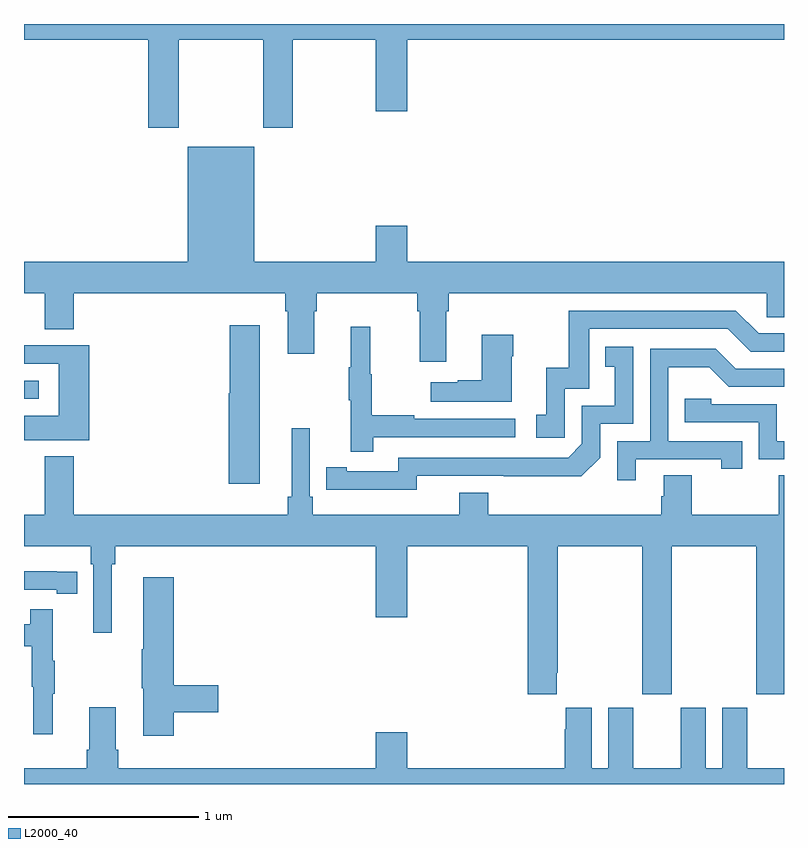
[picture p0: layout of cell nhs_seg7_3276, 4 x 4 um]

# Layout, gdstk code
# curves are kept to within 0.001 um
import gdstk
lib = gdstk.Library(unit=1e-6, precision=1e-09)
def R(c, l, rs):  # rectangles x0, y0, x1, y1
    for r in rs: c.add(gdstk.rectangle(r[:2], r[2:], *l))
def P(c, l, *ps):  # polygons
    for p in ps: c.add(gdstk.Polygon(p, *l))
L2000_40 = (2000, 40)

nhs_seg7_3276 = lib.new_cell('nhs_seg7_3276')
R(nhs_seg7_3276, L2000_40, [(319,1032.027,319.078,1032.123)])
P(nhs_seg7_3276, L2000_40, [(319.815,1033.916),(320.26,1033.916),(320.26,1033.455),(320.415,1033.455),(320.415,1033.916),(320.852,1033.916),(320.852,1033.542),(321.016,1033.542),(321.016,1033.916),(323,1033.916),(323,1034),(319,1034),(319,1033.916),(319.655,1033.916),(319.655,1033.455),(319.815,1033.455)],
  [(321.223,1032.488),(321.236,1032.488),(321.236,1032.584),(322.908,1032.584),(322.908,1032.457),(323,1032.457),(323,1032.748),(321.016,1032.748),(321.016,1032.937),(320.852,1032.937),(320.852,1032.748),(320.212,1032.748),(320.212,1033.354),(319.862,1033.354),(319.862,1032.748),(319,1032.748),(319,1032.584),(319.109,1032.584),(319.109,1032.394),(319.262,1032.394),(319.262,1032.584),(320.375,1032.584),(320.375,1032.488),(320.387,1032.488),(320.387,1032.264),(320.527,1032.264),(320.527,1032.488),(320.54,1032.488),(320.54,1032.584),(321.071,1032.584),(321.071,1032.488),(321.083,1032.488),(321.083,1032.222),(321.223,1032.222)],
  [(321.846,1032.081),(321.975,1032.081),(321.975,1032.396),(322.704,1032.396),(322.824,1032.276),(323,1032.276),(323,1032.372),(322.866,1032.372),(322.746,1032.492),(321.867,1032.492),(321.867,1032.19),(321.749,1032.19),(321.749,1031.943),(321.696,1031.943),(321.696,1031.823),(321.846,1031.823)],
  [(320.242,1032.415),(320.084,1032.415),(320.084,1032.057),(320.078,1032.057),(320.078,1031.58),(320.242,1031.58)],
  [(320.837,1031.826),(321.586,1031.826),(321.586,1031.922),(321.053,1031.922),(321.053,1031.942),(320.83,1031.942),(320.83,1032.156),(320.822,1032.156),(320.822,1032.406),(320.72,1032.406),(320.72,1032.193),(320.709,1032.193),(320.709,1032.019),(320.72,1032.019),(320.72,1031.748),(320.837,1031.748)],
  [(321.568,1032.251),(321.576,1032.251),(321.576,1032.364),(321.41,1032.364),(321.41,1032.125),(321.284,1032.125),(321.284,1032.115),(321.141,1032.115),(321.141,1032.011),(321.568,1032.011)],
  [(319.343,1032.309),(319,1032.309),(319,1032.213),(319.184,1032.213),(319.184,1031.938),(319,1031.938),(319,1031.81),(319.343,1031.81)],
  [(321.066,1031.622),(321.934,1031.621),(322.032,1031.718),(322.032,1031.895),(322.206,1031.895),(322.206,1032.301),(322.06,1032.301),(322.06,1032.195),(322.109,1032.195),(322.109,1031.991),(321.936,1031.991),(321.936,1031.79),(321.864,1031.718),(320.97,1031.718),(320.97,1031.646),(320.698,1031.646),(320.698,1031.666),(320.59,1031.666),(320.59,1031.55),(321.066,1031.549)],
  [(322.219,1031.709),(322.67,1031.709),(322.67,1031.658),(322.781,1031.658),(322.781,1031.805),(322.392,1031.805),(322.392,1032.194),(322.606,1032.194),(322.71,1032.09),(323,1032.09),(323,1032.186),(322.747,1032.186),(322.642,1032.291),(322.296,1032.291),(322.296,1031.805),(322.122,1031.805),(322.122,1031.598),(322.219,1031.598)],
  [(323,1031.805),(322.962,1031.805),(322.962,1032),(322.617,1032),(322.617,1032.027),(322.477,1032.027),(322.477,1031.904),(322.866,1031.904),(322.866,1031.709),(323,1031.709)],
  [(321.29,1031.533),(321.29,1031.416),(320.519,1031.416),(320.519,1031.512),(320.505,1031.512),(320.505,1031.872),(320.408,1031.872),(320.408,1031.512),(320.389,1031.512),(320.389,1031.416),(319.262,1031.416),(319.262,1031.725),(319.109,1031.725),(319.109,1031.416),(319,1031.416),(319,1031.252),(319.352,1031.252),(319.352,1031.156),(319.365,1031.156),(319.365,1030.797),(319.462,1030.797),(319.462,1031.156),(319.481,1031.156),(319.481,1031.252),(320.852,1031.252),(320.852,1030.878),(321.016,1030.878),(321.016,1031.252),(321.65,1031.252),(321.65,1030.473),(321.805,1030.473),(321.805,1030.585),(321.81,1030.585),(321.81,1031.252),(322.255,1031.252),(322.255,1030.473),(322.41,1030.473),(322.41,1031.252),(322.855,1031.252),(322.855,1030.473),(323,1030.473),(323,1031.624),(322.972,1031.624),(322.972,1031.416),(322.515,1031.416),(322.515,1031.624),(322.367,1031.624),(322.367,1031.514),(322.355,1031.514),(322.355,1031.416),(321.443,1031.416),(321.443,1031.533)],
  [(319.28,1031.118),(319.172,1031.118),(319.172,1031.119),(319,1031.119),(319,1031.022),(319.172,1031.022),(319.172,1031.002),(319.28,1031.002)],
  [(319.787,1030.378),(320.023,1030.378),(320.023,1030.52),(319.787,1030.52),(319.787,1031.089),(319.628,1031.089),(319.628,1030.709),(319.621,1030.709),(319.621,1030.503),(319.628,1030.503),(319.628,1030.254),(319.787,1030.254)],
  [(319.151,1030.475),(319.162,1030.475),(319.162,1030.649),(319.151,1030.649),(319.151,1030.921),(319.033,1030.921),(319.033,1030.842),(319,1030.842),(319,1030.726),(319.041,1030.726),(319.041,1030.512),(319.048,1030.512),(319.048,1030.263),(319.151,1030.263)],
  [(323,1030.084),(322.807,1030.084),(322.807,1030.402),(322.676,1030.402),(322.676,1030.084),(322.588,1030.084),(322.588,1030.402),(322.457,1030.402),(322.457,1030.084),(322.207,1030.084),(322.207,1030.402),(322.076,1030.402),(322.076,1030.084),(321.988,1030.084),(321.988,1030.402),(321.851,1030.402),(321.851,1030.289),(321.845,1030.289),(321.845,1030.084),(321.016,1030.084),(321.016,1030.273),(320.852,1030.273),(320.852,1030.084),(319.496,1030.084),(319.496,1030.18),(319.483,1030.18),(319.483,1030.405),(319.343,1030.405),(319.343,1030.18),(319.331,1030.18),(319.331,1030.084),(319,1030.084),(319,1030),(323,1030)])

lib.write_gds('nhs_seg7_3276.gds')
